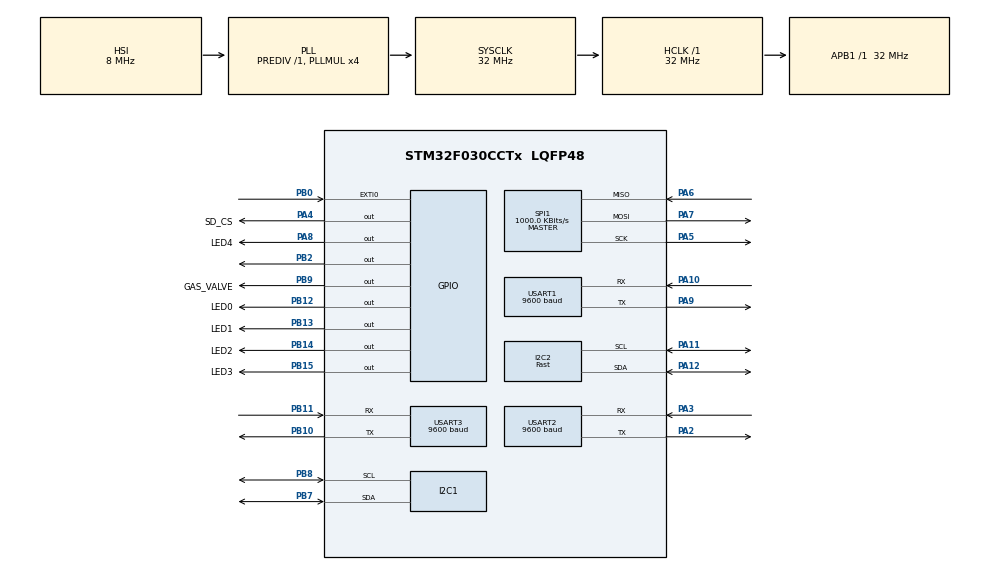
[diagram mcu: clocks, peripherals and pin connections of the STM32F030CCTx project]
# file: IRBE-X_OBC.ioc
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FATFS._MAX_SS=4096
I2C1.Timing=0x00707CBB
I2C2.Analog_Filter=I2C_ANALOGFILTER_ENABLE
I2C2.I2C_Speed_Mode=I2C_Fast
I2C2.Speed=100
I2C2.Timing=0x003038FF
Mcu.Family=STM32F0
Mcu.Name=STM32F030CCTx
Mcu.Package=LQFP48
NVIC.EXTI0_1_IRQn=true\:0\:0\:false\:false\:true\:true\:true\:true
NVIC.TIM3_IRQn=true\:0\:0\:false\:false\:true\:true\:true\:true
NVIC.USART1_IRQn=true\:0\:0\:false\:false\:true\:true\:true\:true
NVIC.USART2_IRQn=true\:0\:0\:false\:false\:true\:true\:true\:true
NVIC.USART3_6_IRQn=true\:0\:0\:false\:false\:true\:true\:true\:true
PA10.Mode=Asynchronous
PA10.Signal=USART1_RX
PA11.GPIO_Pu=GPIO_NOPULL
PA11.GPIO_Speed=GPIO_SPEED_FREQ_HIGH
PA11.Mode=I2C
PA11.Signal=I2C2_SCL
PA12.GPIO_Pu=GPIO_NOPULL
PA12.Mode=I2C
PA12.Signal=I2C2_SDA
PA13.Mode=Serial_Wire
PA13.Signal=SYS_SWDIO
PA14.Mode=Serial_Wire
PA14.Signal=SYS_SWCLK
PA2.Mode=Asynchronous
PA2.Signal=USART2_TX
PA3.Mode=Asynchronous
PA3.Signal=USART2_RX
PA4.GPIO_Label=SD_CS
PA4.Signal=GPIO_Output
PA5.Mode=Full_Duplex_Master
PA5.Signal=SPI1_SCK
PA6.Mode=Full_Duplex_Master
PA6.Signal=SPI1_MISO
PA7.Mode=Full_Duplex_Master
PA7.Signal=SPI1_MOSI
PA8.GPIO_Label=LED4
PA8.Signal=GPIO_Output
PA9.Mode=Asynchronous
PA9.Signal=USART1_TX
PB0.GPIO_ModeDefaultEXTI=GPIO_MODE_IT_FALLING
PB0.Signal=GPXTI0
PB10.Mode=Asynchronous
PB10.Signal=USART3_TX
PB11.Mode=Asynchronous
PB11.Signal=USART3_RX
PB12.GPIO_Label=LED0
PB12.Signal=GPIO_Output
PB13.GPIO_Label=LED1
PB13.Signal=GPIO_Output
PB14.GPIO_Label=LED2
PB14.Signal=GPIO_Output
PB15.GPIO_Label=LED3
PB15.Signal=GPIO_Output
PB2.Signal=GPIO_Output
PB7.GPIO_Pu=GPIO_NOPULL
PB7.GPIO_Speed=GPIO_SPEED_FREQ_HIGH
PB7.Mode=I2C
PB7.Signal=I2C1_SDA
PB8.Mode=I2C
PB8.Signal=I2C1_SCL
PB9.GPIO_Label=GAS_VALVE
PB9.Signal=GPIO_Output
ProjectManager.HeapSize=0x200
ProjectManager.StackSize=0x400
ProjectManager.TargetToolchain=STM32CubeIDE
RCC.AHBFreq_Value=32000000
RCC.APB1Freq_Value=32000000
RCC.APB1TimFreq_Value=32000000
RCC.HCLKFreq_Value=32000000
RCC.I2c1ClockSelection=RCC_I2C1CLKSOURCE_SYSCLK
RCC.PLLMUL=RCC_PLL_MUL4
RCC.SYSCLKFreq_VALUE=32000000
RCC.SYSCLKSource=RCC_SYSCLKSOURCE_PLLCLK
RTC.Date=25
RTC.Hours=0
RTC.Minutes=0
RTC.Month=RTC_MONTH_FEBRUARY
RTC.WeekDay=RTC_WEEKDAY_SATURDAY
RTC.Year=23
SPI1.BaudRatePrescaler=SPI_BAUDRATEPRESCALER_32
SPI1.CalculateBaudRate=1000.0 KBits/s
SPI1.DataSize=SPI_DATASIZE_8BIT
SPI1.Direction=SPI_DIRECTION_2LINES
SPI1.Mode=SPI_MODE_MASTER
SPI1.VirtualType=VM_MASTER
TIM3.Period=1000
TIM3.Prescaler=32000
USART1.BaudRate=9600
USART1.VirtualMode-Asynchronous=VM_ASYNC
USART2.BaudRate=9600
USART2.VirtualMode-Asynchronous=VM_ASYNC
USART3.BaudRate=9600
USART3.VirtualMode-Asynchronous=VM_ASYNC
VP_FATFS_VS_Generic.Mode=User_defined
VP_RTC_VS_RTC_Activate.Mode=RTC_Enabled
VP_RTC_VS_RTC_Calendar.Mode=RTC_Calendar
VP_TIM3_VS_ClockSourceINT.Mode=Internal
board=custom

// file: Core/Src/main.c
/* USER CODE BEGIN Header */
/**
  ******************************************************************************
  * @file           : main.c
  * @brief          : Main program body
  ******************************************************************************
  * @attention
  *
  * Copyright (c) 2022 STMicroelectronics.
  * All rights reserved.
  *
  * This software is licensed under terms that can be found in the LICENSE file
  * in the root directory of this software component.
  * If no LICENSE file comes with this software, it is provided AS-IS.
  *
  ******************************************************************************
  */
/* USER CODE END Header */
#include "main.h"
#include "fatfs.h"

/* USER CODE BEGIN Includes */
#include "BME280_lib.h"
#include "MPU6050_Lib.h"
#include "QMC5883_lib.h" //1.library
#include <stdio.h>
#include <string.h>
/* USER CODE END Includes */

/* USER CODE BEGIN PD */
#define I2C_short_timeout 20
#define I2C_long_timeout 200
#define PRESSURE_REFERENCE 100	//kpa at sea level, varies by location and weather
/* USER CODE END PD */

I2C_HandleTypeDef hi2c1;
I2C_HandleTypeDef hi2c2;

RTC_HandleTypeDef hrtc;

SPI_HandleTypeDef hspi1;

TIM_HandleTypeDef htim3;

UART_HandleTypeDef huart1;
UART_HandleTypeDef huart2;
UART_HandleTypeDef huart3;

/* USER CODE BEGIN PV */
Sensors_struct Sensors;
uint8_t USART1_RxBuffer [6];
/* USER CODE END PV */

void SystemClock_Config(void);
static void MX_GPIO_Init(void);
static void MX_I2C1_Init(void);
static void MX_RTC_Init(void);
static void MX_TIM3_Init(void);
static void MX_I2C2_Init(void);
static void MX_SPI1_Init(void);
static void MX_USART1_UART_Init(void);
static void MX_USART2_UART_Init(void);
static void MX_USART3_UART_Init(void);
/* USER CODE BEGIN PFP */
void Get_BME280_in_all_readings();
//void Get_BME280_ex_all_readings();
void Get_MPU6050_all_readings();
void Get_QMC5883_all_readings();
/* USER CODE END PFP */

/* USER CODE BEGIN 0 */
FATFS	FS;							// fil system object structure (FATFS)
FATFS	*pFS;						// Pointer to fil system object structure
FIL		fil;						// fil object structure (FIL)

char buffer [100];
char Data_to_send[50];
uint8_t Rx_command1[2] = {0};
uint8_t Rx_command3[2] = {0};
char tx_data[] = "hello";

float heading;

char rx_buffer[1]; // Buffer to store received characters

typedef struct
{
	volatile FRESULT mount;				// To store return status code
	volatile FRESULT open;				// If SD card mounted save 1, if not save 0
	volatile FRESULT freeSpace;
	volatile FRESULT statusSync;

	volatile uint8_t statuss;

	DWORD mytotalSpace;
	DWORD myfreeSpace;

	DWORD	freeCluster;

}MYfilResult;

MYfilResult Data;

uint8_t	MY_SDCard_Mount ();
uint8_t	MY_SDCard_Open();
uint8_t MY_SDCard_FreeSpace();
MYfilResult MY_SDCard_SetUp ();

RTC_DateTypeDef	systemRTCDate;
RTC_TimeTypeDef	systemRTCTime;

struct
{
	uint8_t state;
	uint8_t nextState;
}SM;

enum
{
	SM_STATE_READ_SENSORS,
	SM_STATE_WRITE_TO_SD_CARD,
	SM_STATE_SEND_DATA_TO_COM
};

struct BME280_Calib_Data_struct BME280_internal_Calib_Data;
//struct BME280_Calib_Data_struct BME280_external_Calib_Data;

uint8_t tim3Flag = 0;
uint16_t myCnt[10] = {0};

void Get_BME280_in_all_readings()
{
	Sensors.BME280_Internal.Status = BME280_Get_ID(hi2c1, &Sensors.BME280_Internal.ID, I2C_short_timeout);
	if(Sensors.BME280_Internal.Status != HAL_OK)
		return;
	Sensors.BME280_Internal.Status = BME280_Get_All(hi2c1, I2C_long_timeout);
	if(Sensors.BME280_Internal.Status != HAL_OK)
		return;

	Sensors.BME280_Internal.Temperature = BME280_T_Double(&BME280_internal_Calib_Data);
	Sensors.BME280_Internal.Pressure = BME280_P_Double(&BME280_internal_Calib_Data);
	Sensors.BME280_Internal.Humidity = BME280_H_Double(&BME280_internal_Calib_Data);
	Sensors.BME280_Internal.Altitude = BME280_Altitude_Double(Sensors.BME280_Internal.Pressure, Sensors.BME280_Internal.Pressure_ref);
}

/*
void Get_BME280_ex_all_readings()
{
	Sensors.BME280_External.Status = BME280_Get_ID(hi2c2, &Sensors.BME280_External.ID, I2C_short_timeout);
	if(Sensors.BME280_External.Status != HAL_OK)
		return;
	Sensors.BME280_External.Status = BME280_Get_All(hi2c2, I2C_long_timeout);
	if(Sensors.BME280_External.Status != HAL_OK)
		return;

	Sensors.BME280_External.Temperature = BME280_T_Double(&BME280_external_Calib_Data);
	Sensors.BME280_External.Pressure = BME280_P_Double(&BME280_external_Calib_Data);
	Sensors.BME280_External.Humidity = BME280_H_Double(&BME280_external_Calib_Data);
	Sensors.BME280_External.Altitude = BME280_Altitude_Double(Sensors.BME280_External.Pressure, Sensors.BME280_External.Pressure_ref);
}
*/
void Get_MPU6050_all_readings()
{
	Sensors.MPU6050.Status = MPU6050_read_ID(hi2c1, &Sensors.MPU6050.ID, I2C_short_timeout);
	myCnt[2]++;
	if(Sensors.MPU6050.Status != HAL_OK)
		return;
	Sensors.MPU6050.Status = MPU6050_read_All(hi2c1, I2C_long_timeout);
	myCnt[3]++;
	if(Sensors.MPU6050.Status != HAL_OK)
		return;

	MPU6050_Accel_double(&Sensors.MPU6050);
	myCnt[4]++;
	MPU6050_Gyro_double(&Sensors.MPU6050);
	MPU6050_Temp_double(&Sensors.MPU6050);
}

QMC_t QMC_Data; //1.library and 2.library
float Compas_Value; //2.library

void Get_QMC5883_all_readings()
{

	if(QMC_read(&QMC_Data)==0)
	{
		//HAL_GPIO_WritePin(Led_GPIO_Port, Led_Pin, GPIO_PIN_SET);
		Compas_Value=QMC_Data.heading;
	}
	else
	{
		//HAL_GPIO_WritePin(Led_GPIO_Port, Led_Pin, GPIO_PIN_RESET);
	}
	//HAL_Delay(50);
	HAL_Delay(I2C_long_timeout);

}

// Function to clear the buffer
void ClearBuffer(uint8_t *buffer, uint16_t size) {
    for (uint16_t i = 0; i < size; i++) {
        buffer[i] = '\0';
    }
}

// Make sure to call this function to start the first reception
void StartReception()
{
    ClearBuffer(USART1_RxBuffer, 6);
    HAL_UART_Receive_IT(&huart1, USART1_RxBuffer, 5);
}

/* USER CODE END 0 */

int main(void)
{

  /* MCU Configuration--------------------------------------------------------*/

  /* Reset of all peripherals, Initializes the Flash interface and the Systick. */
  HAL_Init();

  /* Configure the system clock */
  SystemClock_Config();

  /* Initialize all configured peripherals */
  MX_GPIO_Init();
  MX_I2C1_Init();
  MX_RTC_Init();
  MX_TIM3_Init();
  MX_I2C2_Init();
  MX_SPI1_Init();
  MX_FATFS_Init();
  MX_USART1_UART_Init();
  MX_USART2_UART_Init();
  MX_USART3_UART_Init();
  /* USER CODE BEGIN 2 */
  /*------------------Sensors init-----------------------*/
//  	Sensors.BME280_Internal.Pressure_ref = PRESSURE_REFERENCE;
//	Sensors.BME280_External.Pressure_ref = PRESSURE_REFERENCE;

  	/* Wait for Sensor power-on */
  	HAL_Delay(1000);

  	Sensors.BME280_Internal.Status = BME280_Get_ID(hi2c1, &Sensors.BME280_Internal.ID, I2C_short_timeout);
  	if (Sensors.BME280_Internal.Status == HAL_OK)
  	{
  		Sensors.BME280_Internal.Status = BME280_Init(hi2c1, I2C_short_timeout);
  		Sensors.BME280_Internal.Status = BME280_Calib_Read(hi2c1, &BME280_internal_Calib_Data, I2C_long_timeout);
  		Get_BME280_in_all_readings();
  	}

/*
  	Sensors.BME280_External.Status = BME280_Get_ID(hi2c2, &Sensors.BME280_External.ID, I2C_short_timeout);
  	if (Sensors.BME280_External.Status == HAL_OK)
  	{
  		Sensors.BME280_External.Status = BME280_Init(hi2c2, I2C_short_timeout);
  		Sensors.BME280_External.Status = BME280_Calib_Read(hi2c2, &BME280_external_Calib_Data, I2C_long_timeout);
  		Get_BME280_ex_all_readings();
  	}
*/
  	Sensors.MPU6050.Status = MPU6050_read_ID(hi2c1, &Sensors.MPU6050.ID, I2C_short_timeout);
  	if (Sensors.MPU6050.Status == HAL_OK)
  	{
  		Sensors.MPU6050.Status = MPU6050_Init(hi2c1, I2C_short_timeout);
  		Get_MPU6050_all_readings();
  	}

/*
  	//if (Sensors.QMC5883.Status == HAL_OK)
  	//{
  	//Sensors.QMC5883.Status = QMC_init(&QMC_Data, &hi2c2, I2C_short_timeout);
  	//QMC_init(&QMC_Data, &hi2c2, 100);
  	//QMC_readHeading(&QMC_Data);
  	//QMC_read(&QMC_Data);
  	//Get_QMC5883_all_readings();
  	//}
*/ //1.library

  	Sensors.QMC5883.Status = QMC_init(&QMC_Data, &hi2c1, 200);

  	Data = MY_SDCard_SetUp();
  	HAL_TIM_Base_Start_IT(&htim3);
  	//HAL_UART_Receive_IT(&huart1, USART1_RxBuffer, 10);
  	//HAL_UART_Receive_IT(&huart3, Rx_command3, 1);
  	StartReception();
  /* USER CODE END 2 */

  /* Infinite loop */
  while (1)
  {

    /* USER CODE BEGIN 3 */

	switch(SM.state){
		case SM_STATE_READ_SENSORS:
			if(tim3Flag == 1){
				Get_BME280_in_all_readings();
				//Get_BME280_ex_all_readings();
	  	  		Get_MPU6050_all_readings();
	  	  		Get_QMC5883_all_readings();
	  	  		//QMC_read(&QMC_Data);

	  	  		//HAL_UART_Transmit(&huart1, (uint8_t *)tx_data, strlen(tx_data), HAL_MAX_DELAY);

	  	  		HAL_RTC_GetTime(&hrtc, &systemRTCTime, RTC_FORMAT_BIN);
	  	  		HAL_RTC_GetDate(&hrtc, &systemRTCDate, RTC_FORMAT_BIN);
	  	  		tim3Flag = 0;
	  	  		SM.nextState= SM_STATE_WRITE_TO_SD_CARD;
	  	  		SM.state = SM.nextState;
	  	  		break;
	  	  	}
	  	  	//SM.nextState= SM_STATE_READ_SENSORS;
	  	  	SM.nextState= SM_STATE_WRITE_TO_SD_CARD;
	  	  	SM.state = SM.nextState;
	  	 break;
	  	 case SM_STATE_WRITE_TO_SD_CARD:
	  		 if((Data.statuss == 1) && (Data.statusSync == FR_OK)){
	  			 char TempStr[100];
	  	  		 //sprintf(TempStr, "%9.2f  %9.2f  %9.2f  %9.2f  \n", Sensors.BME280_Internal.Temperature, Sensors.BME280_Internal.Humidity, Sensors.MPU650.Gyro_X, Sensors.MPU650.Gyro_Y);
	  			 sprintf(TempStr, "%d\t%d\t%d\t%3.2f\t%3.2f\n",systemRTCTime.Hours, systemRTCTime.Minutes, systemRTCTime.Seconds, Sensors.BME280_Internal.Temperature, Sensors.BME280_Internal.Pressure);
	  			 f_printf(&fil, TempStr);
	  	  		 Data.statusSync = f_sync(&fil);
	  	  		 myCnt[1]++;
	  	  		 HAL_GPIO_TogglePin(GPIOB, GPIO_PIN_12);
	  	  		 //SM.nextState= SM_STATE_SEND_DATA_TO_COM;
	  	  		 SM.nextState= SM_STATE_READ_SENSORS;
	  	  		 SM.state = SM.nextState;
	  	  		 break;
	  	  	  }
	  	  	  //SM.nextState= SM_STATE_SEND_DATA_TO_COM;
	  		  SM.nextState= SM_STATE_READ_SENSORS;
	  	  	  SM.state = SM.nextState;
	  	 break;
	  	 case SM_STATE_SEND_DATA_TO_COM:
	  		 memset(Data_to_send, 0, sizeof(Data_to_send));
	  		 char TempStr[20];
	  		 sprintf(TempStr, "%.2f", Sensors.BME280_Internal.Temperature);
	  		 strcat(Data_to_send, TempStr);
	  		 HAL_UART_Transmit_IT(&huart1,Data_to_send, 5);
	  		 SM.nextState= SM_STATE_READ_SENSORS;
	  		 SM.state = SM.nextState;
	  		 HAL_GPIO_TogglePin(GPIOB, GPIO_PIN_13);
	  	 default:
	  		HAL_GPIO_WritePin(GPIOB, GPIO_PIN_2, 1);

	}

  }
  /* USER CODE END 3 */
}

void SystemClock_Config(void)
{
  RCC_OscInitTypeDef RCC_OscInitStruct = {0};
  RCC_ClkInitTypeDef RCC_ClkInitStruct = {0};
  RCC_PeriphCLKInitTypeDef PeriphClkInit = {0};

  /** Initializes the RCC Oscillators according to the specified parameters
  * in the RCC_OscInitTypeDef structure.
  */
  RCC_OscInitStruct.OscillatorType = RCC_OSCILLATORTYPE_HSI|RCC_OSCILLATORTYPE_LSI;
  RCC_OscInitStruct.HSIState = RCC_HSI_ON;
  RCC_OscInitStruct.HSICalibrationValue = RCC_HSICALIBRATION_DEFAULT;
  RCC_OscInitStruct.LSIState = RCC_LSI_ON;
  RCC_OscInitStruct.PLL.PLLState = RCC_PLL_ON;
  RCC_OscInitStruct.PLL.PLLSource = RCC_PLLSOURCE_HSI;
  RCC_OscInitStruct.PLL.PLLMUL = RCC_PLL_MUL4;
  RCC_OscInitStruct.PLL.PREDIV = RCC_PREDIV_DIV1;
  if (HAL_RCC_OscConfig(&RCC_OscInitStruct) != HAL_OK)
  {
    Error_Handler();
  }

  /** Initializes the CPU, AHB and APB buses clocks
  */
  RCC_ClkInitStruct.ClockType = RCC_CLOCKTYPE_HCLK|RCC_CLOCKTYPE_SYSCLK
                              |RCC_CLOCKTYPE_PCLK1;
  RCC_ClkInitStruct.SYSCLKSource = RCC_SYSCLKSOURCE_PLLCLK;
  RCC_ClkInitStruct.AHBCLKDivider = RCC_SYSCLK_DIV1;
  RCC_ClkInitStruct.APB1CLKDivider = RCC_HCLK_DIV1;

  if (HAL_RCC_ClockConfig(&RCC_ClkInitStruct, FLASH_LATENCY_1) != HAL_OK)
  {
    Error_Handler();
  }
  PeriphClkInit.PeriphClockSelection = RCC_PERIPHCLK_USART1|RCC_PERIPHCLK_I2C1
                              |RCC_PERIPHCLK_RTC;
  PeriphClkInit.Usart1ClockSelection = RCC_USART1CLKSOURCE_PCLK1;
  PeriphClkInit.I2c1ClockSelection = RCC_I2C1CLKSOURCE_SYSCLK;
  PeriphClkInit.RTCClockSelection = RCC_RTCCLKSOURCE_LSI;
  if (HAL_RCCEx_PeriphCLKConfig(&PeriphClkInit) != HAL_OK)
  {
    Error_Handler();
  }
}

static void MX_I2C1_Init(void)
{

  hi2c1.Instance = I2C1;
  hi2c1.Init.Timing = 0x00707CBB;
  hi2c1.Init.OwnAddress1 = 0;
  hi2c1.Init.AddressingMode = I2C_ADDRESSINGMODE_7BIT;
  hi2c1.Init.DualAddressMode = I2C_DUALADDRESS_DISABLE;
  hi2c1.Init.OwnAddress2 = 0;
  hi2c1.Init.OwnAddress2Masks = I2C_OA2_NOMASK;
  hi2c1.Init.GeneralCallMode = I2C_GENERALCALL_DISABLE;
  hi2c1.Init.NoStretchMode = I2C_NOSTRETCH_DISABLE;
  if (HAL_I2C_Init(&hi2c1) != HAL_OK)
  {
    Error_Handler();
  }

  /** Configure Analogue filter
  */
  if (HAL_I2CEx_ConfigAnalogFilter(&hi2c1, I2C_ANALOGFILTER_ENABLE) != HAL_OK)
  {
    Error_Handler();
  }

  /** Configure Digital filter
  */
  if (HAL_I2CEx_ConfigDigitalFilter(&hi2c1, 0) != HAL_OK)
  {
    Error_Handler();
  }

}

static void MX_I2C2_Init(void)
{

  hi2c2.Instance = I2C2;
  hi2c2.Init.Timing = 0x003038FF;
  hi2c2.Init.OwnAddress1 = 0;
  hi2c2.Init.AddressingMode = I2C_ADDRESSINGMODE_7BIT;
  hi2c2.Init.DualAddressMode = I2C_DUALADDRESS_DISABLE;
  hi2c2.Init.OwnAddress2 = 0;
  hi2c2.Init.OwnAddress2Masks = I2C_OA2_NOMASK;
  hi2c2.Init.GeneralCallMode = I2C_GENERALCALL_DISABLE;
  hi2c2.Init.NoStretchMode = I2C_NOSTRETCH_DISABLE;
  if (HAL_I2C_Init(&hi2c2) != HAL_OK)
  {
    Error_Handler();
  }

  /** Configure Analogue filter
  */
  if (HAL_I2CEx_ConfigAnalogFilter(&hi2c2, I2C_ANALOGFILTER_ENABLE) != HAL_OK)
  {
    Error_Handler();
  }

  /** Configure Digital filter
  */
  if (HAL_I2CEx_ConfigDigitalFilter(&hi2c2, 0) != HAL_OK)
  {
    Error_Handler();
  }

}

static void MX_RTC_Init(void)
{

  RTC_TimeTypeDef sTime = {0};
  RTC_DateTypeDef sDate = {0};

  /** Initialize RTC Only
  */
  hrtc.Instance = RTC;
  hrtc.Init.HourFormat = RTC_HOURFORMAT_24;
  hrtc.Init.AsynchPrediv = 127;
  hrtc.Init.SynchPrediv = 255;
  hrtc.Init.OutPut = RTC_OUTPUT_DISABLE;
  hrtc.Init.OutPutPolarity = RTC_OUTPUT_POLARITY_HIGH;
  hrtc.Init.OutPutType = RTC_OUTPUT_TYPE_OPENDRAIN;
  if (HAL_RTC_Init(&hrtc) != HAL_OK)
  {
    Error_Handler();
  }

  /** Initialize RTC and set the Time and Date
  */
  sTime.Hours = 0x0;
  sTime.Minutes = 0x0;
  sTime.Seconds = 0x0;
  sTime.DayLightSaving = RTC_DAYLIGHTSAVING_NONE;
  sTime.StoreOperation = RTC_STOREOPERATION_RESET;
  if (HAL_RTC_SetTime(&hrtc, &sTime, RTC_FORMAT_BCD) != HAL_OK)
  {
    Error_Handler();
  }
  sDate.WeekDay = RTC_WEEKDAY_SATURDAY;
  sDate.Month = RTC_MONTH_FEBRUARY;
  sDate.Date = 0x25;
  sDate.Year = 0x23;

  if (HAL_RTC_SetDate(&hrtc, &sDate, RTC_FORMAT_BCD) != HAL_OK)
  {
    Error_Handler();
  }

}

static void MX_SPI1_Init(void)
{

  /* SPI1 parameter configuration*/
  hspi1.Instance = SPI1;
  hspi1.Init.Mode = SPI_MODE_MASTER;
  hspi1.Init.Direction = SPI_DIRECTION_2LINES;
  hspi1.Init.DataSize = SPI_DATASIZE_8BIT;
  hspi1.Init.CLKPolarity = SPI_POLARITY_LOW;
  hspi1.Init.CLKPhase = SPI_PHASE_1EDGE;
  hspi1.Init.NSS = SPI_NSS_SOFT;
  hspi1.Init.BaudRatePrescaler = SPI_BAUDRATEPRESCALER_32;
  hspi1.Init.FirstBit = SPI_FIRSTBIT_MSB;
  hspi1.Init.TIMode = SPI_TIMODE_DISABLE;
  hspi1.Init.CRCCalculation = SPI_CRCCALCULATION_DISABLE;
  hspi1.Init.CRCPolynomial = 7;
  hspi1.Init.CRCLength = SPI_CRC_LENGTH_DATASIZE;
  hspi1.Init.NSSPMode = SPI_NSS_PULSE_ENABLE;
  if (HAL_SPI_Init(&hspi1) != HAL_OK)
  {
    Error_Handler();
  }

}

static void MX_TIM3_Init(void)
{

  TIM_ClockConfigTypeDef sClockSourceConfig = {0};
  TIM_MasterConfigTypeDef sMasterConfig = {0};

  htim3.Instance = TIM3;
  htim3.Init.Prescaler = 32000;
  htim3.Init.CounterMode = TIM_COUNTERMODE_UP;
  htim3.Init.Period = 1000;
  htim3.Init.ClockDivision = TIM_CLOCKDIVISION_DIV1;
  htim3.Init.AutoReloadPreload = TIM_AUTORELOAD_PRELOAD_DISABLE;
  if (HAL_TIM_Base_Init(&htim3) != HAL_OK)
  {
    Error_Handler();
  }
  sClockSourceConfig.ClockSource = TIM_CLOCKSOURCE_INTERNAL;
  if (HAL_TIM_ConfigClockSource(&htim3, &sClockSourceConfig) != HAL_OK)
  {
    Error_Handler();
  }
  sMasterConfig.MasterOutputTrigger = TIM_TRGO_RESET;
  sMasterConfig.MasterSlaveMode = TIM_MASTERSLAVEMODE_DISABLE;
  if (HAL_TIMEx_MasterConfigSynchronization(&htim3, &sMasterConfig) != HAL_OK)
  {
    Error_Handler();
  }

}

static void MX_USART1_UART_Init(void)
{

  huart1.Instance = USART1;
  huart1.Init.BaudRate = 9600;
  huart1.Init.WordLength = UART_WORDLENGTH_8B;
  huart1.Init.StopBits = UART_STOPBITS_1;
  huart1.Init.Parity = UART_PARITY_NONE;
  huart1.Init.Mode = UART_MODE_TX_RX;
  huart1.Init.HwFlowCtl = UART_HWCONTROL_NONE;
  huart1.Init.OverSampling = UART_OVERSAMPLING_16;
  huart1.Init.OneBitSampling = UART_ONE_BIT_SAMPLE_DISABLE;
  huart1.AdvancedInit.AdvFeatureInit = UART_ADVFEATURE_NO_INIT;
  if (HAL_UART_Init(&huart1) != HAL_OK)
  {
    Error_Handler();
  }

}

static void MX_USART2_UART_Init(void)
{

  huart2.Instance = USART2;
  huart2.Init.BaudRate = 9600;
  huart2.Init.WordLength = UART_WORDLENGTH_8B;
  huart2.Init.StopBits = UART_STOPBITS_1;
  huart2.Init.Parity = UART_PARITY_NONE;
  huart2.Init.Mode = UART_MODE_TX_RX;
  huart2.Init.HwFlowCtl = UART_HWCONTROL_NONE;
  huart2.Init.OverSampling = UART_OVERSAMPLING_16;
  huart2.Init.OneBitSampling = UART_ONE_BIT_SAMPLE_DISABLE;
  huart2.AdvancedInit.AdvFeatureInit = UART_ADVFEATURE_NO_INIT;
  if (HAL_UART_Init(&huart2) != HAL_OK)
  {
    Error_Handler();
  }

}

static void MX_USART3_UART_Init(void)
{

  huart3.Instance = USART3;
  huart3.Init.BaudRate = 9600;
  huart3.Init.WordLength = UART_WORDLENGTH_8B;
  huart3.Init.StopBits = UART_STOPBITS_1;
  huart3.Init.Parity = UART_PARITY_NONE;
  huart3.Init.Mode = UART_MODE_TX_RX;
  huart3.Init.HwFlowCtl = UART_HWCONTROL_NONE;
  huart3.Init.OverSampling = UART_OVERSAMPLING_16;
  huart3.Init.OneBitSampling = UART_ONE_BIT_SAMPLE_DISABLE;
  huart3.AdvancedInit.AdvFeatureInit = UART_ADVFEATURE_NO_INIT;
  if (HAL_UART_Init(&huart3) != HAL_OK)
  {
    Error_Handler();
  }

}

static void MX_GPIO_Init(void)
{
  GPIO_InitTypeDef GPIO_InitStruct = {0};

  /* GPIO Ports Clock Enable */
  __HAL_RCC_GPIOA_CLK_ENABLE();
  __HAL_RCC_GPIOB_CLK_ENABLE();

  /*Configure GPIO pin Output Level */
  HAL_GPIO_WritePin(GPIOA, SD_CS_Pin|LED4_Pin, GPIO_PIN_RESET);

  /*Configure GPIO pin Output Level */
  HAL_GPIO_WritePin(GPIOB, GPIO_PIN_2|LED0_Pin|LED1_Pin|LED2_Pin
                          |LED3_Pin|GAS_VALVE_Pin, GPIO_PIN_RESET);

  /*Configure GPIO pins : SD_CS_Pin LED4_Pin */
  GPIO_InitStruct.Pin = SD_CS_Pin|LED4_Pin;
  GPIO_InitStruct.Mode = GPIO_MODE_OUTPUT_PP;
  GPIO_InitStruct.Pull = GPIO_NOPULL;
  GPIO_InitStruct.Speed = GPIO_SPEED_FREQ_LOW;
  HAL_GPIO_Init(GPIOA, &GPIO_InitStruct);

  /*Configure GPIO pin : PB0 */
  GPIO_InitStruct.Pin = GPIO_PIN_0;
  GPIO_InitStruct.Mode = GPIO_MODE_IT_FALLING;
  GPIO_InitStruct.Pull = GPIO_NOPULL;
  HAL_GPIO_Init(GPIOB, &GPIO_InitStruct);

  /*Configure GPIO pins : PB2 LED0_Pin LED1_Pin LED2_Pin
                           LED3_Pin GAS_VALVE_Pin */
  GPIO_InitStruct.Pin = GPIO_PIN_2|LED0_Pin|LED1_Pin|LED2_Pin
                          |LED3_Pin|GAS_VALVE_Pin;
  GPIO_InitStruct.Mode = GPIO_MODE_OUTPUT_PP;
  GPIO_InitStruct.Pull = GPIO_NOPULL;
  GPIO_InitStruct.Speed = GPIO_SPEED_FREQ_LOW;
  HAL_GPIO_Init(GPIOB, &GPIO_InitStruct);

  /* EXTI interrupt init*/
  HAL_NVIC_SetPriority(EXTI0_1_IRQn, 0, 0);
  HAL_NVIC_EnableIRQ(EXTI0_1_IRQn);

}

/* USER CODE BEGIN 4 */

MYfilResult MY_SDCard_SetUp()
{
	MYfilResult SD_FR;

	SD_FR.mount = f_mount(&FS, "", 0);
	SD_FR.open = f_open(&fil, "IRBEX.txt", FA_OPEN_ALWAYS | FA_WRITE);
	if((SD_FR.mount == FR_OK) && (SD_FR.open == FR_OK))
	{
		SD_FR.freeSpace = f_getfree("", &SD_FR.freeCluster, &pFS);
		if(SD_FR.freeSpace == FR_OK)
		{
			SD_FR.mytotalSpace = (pFS -> n_fatent - 2) * (pFS -> csize);
			SD_FR.myfreeSpace = SD_FR.freeCluster * (pFS -> csize);

			SD_FR.statuss = 1;
		}

		if(SD_FR.statuss == 1)
		{
			//Write a meta date of data logger text fil
			f_printf(&fil, "IRBEX DATA LOGGER.\n");
			HAL_RTC_GetDate(&hrtc, &systemRTCDate, RTC_FORMAT_BIN);
			f_printf(&fil, "Date: %d.%d.%d\n", systemRTCDate.Date, systemRTCDate.Month, systemRTCDate.Year);
			f_printf(&fil, "SD Card memory total space = %d & free space = %d\n", SD_FR.mytotalSpace, SD_FR.myfreeSpace);
			f_printf(&fil, "Hours\tMinutes\tSeconds\tInternal_Temp\tInternal_Pressure\t");
			SD_FR.statusSync = f_sync(&fil);
			SD_FR.statusSync = f_sync(&fil);
		}
	}
	return SD_FR;
}
void HAL_TIM_PeriodElapsedCallback(TIM_HandleTypeDef *htim)
{
	if (htim == &htim3)
	{
		tim3Flag = 1;
		myCnt[0]++;
	}
}

// Function to convert double to string
char* doubleToString(double value) {
    static char buffer[20];
    snprintf(buffer, 20, "%.2f", value); // Adjust precision as needed
    return buffer;
}

void HAL_UART_RxCpltCallback(UART_HandleTypeDef *huart)
{

//	if (huart == &huart1) {
//	        // Handle received data (if needed)
//	        // Here, we're simply sending back "OK"
//	        //HAL_UART_Transmit(&huart1, (uint8_t *)"OK", strlen("OK"), HAL_MAX_DELAY);
//
//	        // Start receiving again to wait for the next message
//	        HAL_UART_Receive_IT(&huart1, (uint8_t *)rx_buffer, 1);
//	}

//	if (huart->Instance == USART1) {
//			// Process the received message
//			//HAL_UART_Receive_IT(&huart1, USART1_RxBuffer, 10);
//		    if (strcmp((char*)USART1_RxBuffer, "<ENI>") == 0) {
//		        // If the received message is "<ENI>", send "OK"
//		        //sendResponse("OK");
//		    	HAL_UART_Transmit(&huart1, (uint8_t *)"<OK>", strlen("<OK>"), HAL_MAX_DELAY);
//		    	//HAL_UART_Transmit_IT(&huart1, (uint8_t *)"ok", strlen("ok"));
//		    	//sendResponse("ok");
//
//
//		    	//HAL_UART_Transmit(&huart1, (uint8_t *)tx_data, strlen(tx_data), HAL_MAX_DELAY);
//		    } else if (strcmp((char*)USART1_RxBuffer, "<MOV>") == 0){
//		        // If the received message is something else, send "NOK"
//		        //sendResponse("NOK");
//		    	//HAL_UART_Transmit_IT(&huart1, (uint8_t *)"nok", strlen("nok"));
//		    	HAL_UART_Transmit(&huart1, (uint8_t *)"<NOK>", strlen("<NOK>"), HAL_MAX_DELAY);
//		    	//sendResponse("nok");
//
//
//				//HAL_UART_Transmit(&huart1, (uint8_t *)tx_data, strlen(tx_data), HAL_MAX_DELAY);
//
//
//		    }
//
//		    // Restart reception for the next message
//		    //HAL_UART_Receive_IT(&huart3, USARTRxBuffer, 5);
//		    HAL_UART_Receive_IT(&huart1, USART1_RxBuffer, 10);
//		}

//	if (huart->Instance == USART1) {
//	        // Ensure the received buffer is null-terminated
//	        USART1_RxBuffer[10] = '\0';  // Assuming the buffer size is 10
//
//	        // Debugging: Print the received message
//	        printf("Received message: '%s'\n", (char*)USART1_RxBuffer);
//
//	        // Process the received message
//	        if (strcmp((char*)USART1_RxBuffer, "<ENI>") == 0) {
//	            // If the received message is "<ENI>", send "OK"
//	            HAL_UART_Transmit(&huart1, (uint8_t *)"<OK>", strlen("<OK>"), HAL_MAX_DELAY);
//	        } else {
//	            // If the received message is something else, send "NOK"
//	            HAL_UART_Transmit(&huart1, (uint8_t *)"<NOK>", strlen("<NOK>"), HAL_MAX_DELAY);
//	        }
//
//	        // Restart reception for the next message
//	        HAL_UART_Receive_IT(&huart1, USART1_RxBuffer, 10);
//	    }

	if (huart->Instance == USART1) {
	        // Ensure the received buffer is null-terminated
	        USART1_RxBuffer[5] = '\0';

	        // Debugging: Print the received message
	        printf("Received message: '%s'\n", (char*)USART1_RxBuffer);

	        // Process the received message
	        if (strcmp((char*)USART1_RxBuffer, "<IST>") == 0) {
	            HAL_UART_Transmit(&huart1, (uint8_t *)"<OK>", strlen("<OK>"), HAL_MAX_DELAY);
	        }
	        else if (strcmp((char*)USART1_RxBuffer, "<MOV>") == 0) {
	            HAL_UART_Transmit(&huart1, (uint8_t *)"<-0.19,-0.47,1.00,-93.65,-29.40,8.75,-116,-123,-1426,226.68,-133.32>", strlen("<-0.19,-0.47,1.00,-93.65,-29.40,8.75,-116,-123,-1426,226.68,-133.32>"), HAL_MAX_DELAY);
	            //<Accel_X,Accel_Y,Accel_Z,Gyro_X,Gyro_Y,Gyro_Z,Magn_Xaxis,Magn_Yaxis,Magn_Zaxis,Magn_heading,Magn_compas>
	        }
	        else if (strcmp((char*)USART1_RxBuffer, "<ENI>") == 0) {
	        	HAL_UART_Transmit(&huart1, (uint8_t *)"<27.3,101.2,52.9>", strlen("<27.3,101.2,52.9>"), HAL_MAX_DELAY);
	        	//<temperature,pressure,humidity>
	        }
	        else if (strcmp((char*)USART1_RxBuffer, "<ENE>") == 0) {
	        	HAL_UART_Transmit(&huart1, (uint8_t *)"<17.8,98.1,77.6>", strlen("<17.8,98.1,77.6>"), HAL_MAX_DELAY);
	        	//<temperature,pressure,humidity>
	        }
	        else if (strcmp((char*)USART1_RxBuffer, "<STR>") == 0) {
	        	HAL_UART_Transmit(&huart1, (uint8_t *)"<initiated>", strlen("<initiated>"), HAL_MAX_DELAY);
	        }
	        else {
	            HAL_UART_Transmit(&huart1, (uint8_t *)"<NOK>", strlen("<NOK>"), HAL_MAX_DELAY);
	        }

	        // Clear the buffer for the next reception
	        ClearBuffer(USART1_RxBuffer, 6);

	        // Restart reception for the next message
	        HAL_UART_Receive_IT(&huart1, USART1_RxBuffer, 5);
	    }

//	if (huart->Instance == USART1) {
//		// Check if the received command is "<ENI>"
//		if (strncmp((char*)huart->pRxBuffPtr, "<ENI>", 5) == 0) {
//			// Construct the string with sensor data
//			char dataString[100];
//			//BME280_struct sensorData; // Assuming sensorData is initialized elsewhere
//			sprintf(dataString, "<%s,%s,%s>", doubleToString(Sensors.BME280_Internal.Temperature),
//	                                              doubleToString(Sensors.BME280_Internal.Pressure),
//	                                              doubleToString(Sensors.BME280_Internal.Humidity));
//
//			// Transmit the string through UART1
//			HAL_UART_Transmit(&huart1, (uint8_t*)dataString, strlen(dataString), HAL_MAX_DELAY);
//	        }
//	    }

	/*
	if (huart == &huart1)
	{
		myCnt[2]++;
		HAL_UART_Receive_IT(&huart1, Rx_command1, 1);
		HAL_GPIO_TogglePin(GPIOB, GPIO_PIN_14);
	}
	if (huart == &huart3)
	{
		//myCnt[3]++;
		HAL_UART_Receive_IT(&huart3, Rx_command3, 1);
		//HAL_GPIO_TogglePin(GPIOB, GPIO_PIN_15);
		if(Rx_command3[0] == 49){
			myCnt[4]++;
			HAL_GPIO_TogglePin(GPIOA, GPIO_PIN_8);
		}
		else if(Rx_command3[0] == 50){
					myCnt[4]++;
					HAL_GPIO_TogglePin(GPIOB, GPIO_PIN_15);
				}
	}
	*/

}

void HAL_GPIO_EXTI_Callback(uint16_t GPIO_Pin)
{
  if(GPIO_Pin == GPIO_PIN_0) {
    HAL_GPIO_TogglePin(GPIOB, GPIO_PIN_15);
  } else {
	  HAL_GPIO_WritePin(GPIOB, GPIO_PIN_15, GPIO_PIN_RESET);
  }
}
/* USER CODE END 4 */

void Error_Handler(void)
{
  __disable_irq();
  while (1)
  {
  }
}
